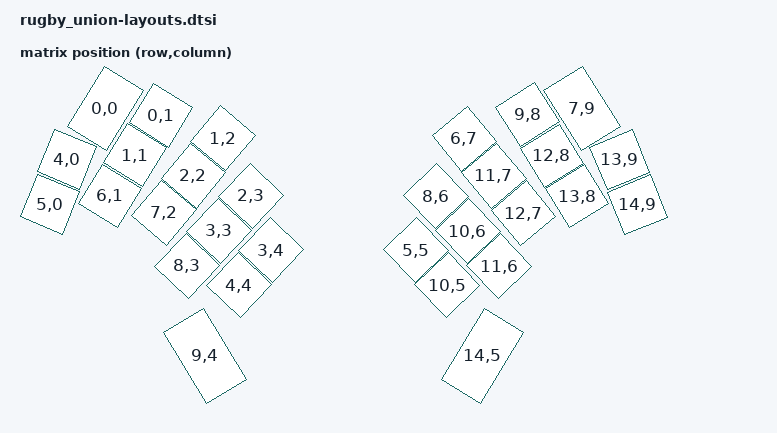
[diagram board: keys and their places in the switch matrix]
#include <physical_layouts.dtsi>

    /* Physical layout close to this:
     *
     * ┌───┬───┬───┬───┐          ┌───┬───┬───┬───┐
     * │ Q │ W │ E │ R ├───┐  ┌───┤ U │ I │ O │ P │
     * ├───┼───┼───┼───┤ T │  │ Y ├───┼───┼───┼───┤
     * │ A │ S │ D │ F ├───┤  ├───┤ J │ K │ L │ ; │
     * ├───┼───┼───┼───┤ G │  │ H ├───┼───┼───┼───┤
     * │ Z │ X │ C │ V ├───┘  └───┤ M │ , │ . │ / │
     * └───┴───┴───┴───┘          └───┴───┴───┴───┘
     *                 ┌───┐  ┌───┐
     *                 │ B │  │ N │
     *                 └───┘  └───┘
     *
     * Logical rows as used in the DTSI file:
     *
     * Q        W       E       R       T          Y       U       I       O       P
     * A        S       D       F       G          H       J       K       L       ;
     * Z        X       C       V       B          N       M       ,       .       /
     *
     * The RC(#, #) columns and row value below are the scaning matrix (GPIOs),
     * scanning rows are not physical! Scanning cols 0-4 on left, then 5-9 on the right.
     */

/ {

    matrix_transform30: matrix_transform30 {
        compatible = "zmk,matrix-transform";
        columns = <10>;
        rows = <15>;
        map = <
            RC(0,0) RC(0,1) RC(1,2) RC(2,3) RC(3,4)     RC(5,5)  RC(8,6)  RC(6,7)  RC(9,8)  RC(7,9)
            RC(4,0) RC(1,1) RC(2,2) RC(3,3) RC(4,4)     RC(10,5) RC(10,6) RC(11,7) RC(12,8) RC(13,9)
            RC(5,0) RC(6,1) RC(7,2) RC(8,3) RC(9,4)     RC(14,5) RC(11,6) RC(12,7) RC(13,8) RC(14,9)
        >;
    };

    physical_layout30: physical_layout30 {
        compatible = "zmk,physical-layout";
        display-name = "LAYOUT";

        kscan = <&kscan0>;
        transform = <&matrix_transform30>;

        keys  //                     w   h    x    y     rot    rx    ry
            = <&key_physical_attrs 100 150  114    0    3200   164    69>
            , <&key_physical_attrs 100 100  223   36    3200   269    86>
            , <&key_physical_attrs 100 100  346   84    4000   396   134>
            , <&key_physical_attrs 100 100  403  199    4400   453   249>
            , <&key_physical_attrs 100 100  443  308    4400   493   358>
            , <&key_physical_attrs 100 100  732  308 (-4400)   782   358>
            , <&key_physical_attrs 100 100  772  200 (-4400)   822   250>
            , <&key_physical_attrs 100 100  829   85 (-4000)   879   135>
            , <&key_physical_attrs 100 100  955   36 (-3200)  1006    86>
            , <&key_physical_attrs 100 150 1061    0 (-3200)  1111    70>
            , <&key_physical_attrs 100 100   34  126    2200    84   176>
            , <&key_physical_attrs 100 100  170  118    3200   220   168>
            , <&key_physical_attrs 100 100  287  159    4000   337   209>
            , <&key_physical_attrs 100 100  339  269    4400   389   319>
            , <&key_physical_attrs 100 100  379  378    4400   429   428>
            , <&key_physical_attrs 100 100  795  378 (-4400)   845   428>
            , <&key_physical_attrs 100 100  836  270 (-4400)   886   320>
            , <&key_physical_attrs 100 100  888  159 (-4000)   938   209>
            , <&key_physical_attrs 100 100 1004  119 (-3200)  1054   169>
            , <&key_physical_attrs 100 100 1140  127 (-2200)  1190   177>
            , <&key_physical_attrs 100 100    0  216    2200    50   266>
            , <&key_physical_attrs 100 100  120  200    3200   172   250>
            , <&key_physical_attrs 100 100  228  233    4000   278   283>
            , <&key_physical_attrs 100 100  275  339    4400   325   389>
            , <&key_physical_attrs 175 100  272  520    5900   360   570>
            , <&key_physical_attrs 175 100  828  520 (-5900)   915   570>
            , <&key_physical_attrs 100 100  899  340 (-4400)   949   390>
            , <&key_physical_attrs 100 100  947  234 (-4000)   997   284>
            , <&key_physical_attrs 100 100 1055  201 (-3200)  1103   251>
            , <&key_physical_attrs 100 100 1175  217 (-2200)  1225   267>
            ;
    };
};
